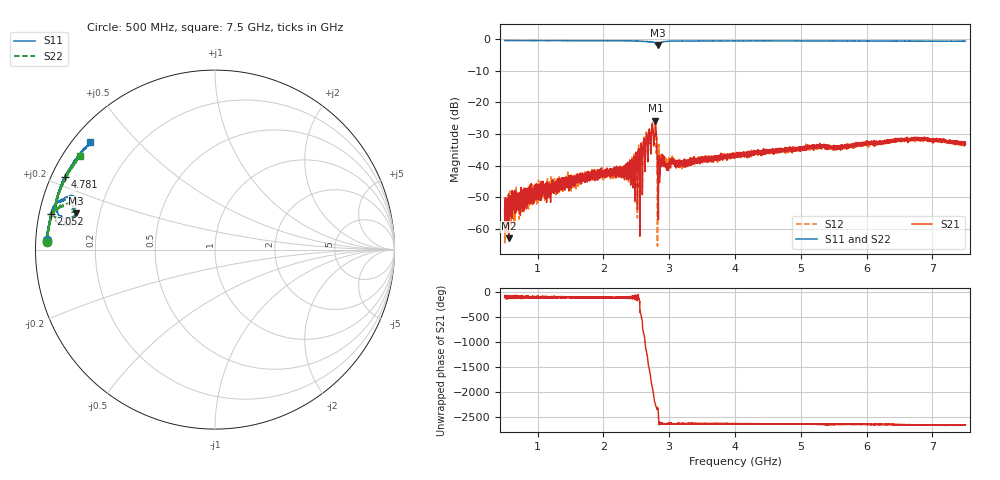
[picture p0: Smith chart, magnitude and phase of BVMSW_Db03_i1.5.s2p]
!Keysight Technologies,M9374A,MY55442783,A.12.55.05
!Date: Friday, May 21, 2021 10:44:48
!Correction: S11(Full 2 Port(1,2))
!S21(Full 2 Port(1,2))
!S12(Full 2 Port(1,2))
!S22(Full 2 Port(1,2))
!S2P File: Measurements: S11, S21, S12, S22:
# Hz S  RI  R 50
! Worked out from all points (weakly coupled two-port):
!   7001 points, 500 MHz to 7.5 GHz, reference 50 ohm
!   highest |S21| = -25.86 dB at 2.792 GHz (marker M1); lowest = -62.9 dB at 562 MHz (marker M2)
!   lowest |S11| = -1.9 dB at 2.831 GHz (marker M3), VSWR 8.99, Z = 5.65 + j6.32 ohm
!   |S11| at or under -10 dB: nowhere
!   |S22| runs from -2.0 to -0.5 dB; largest |S21 - S12| = 0.019
!   S11 on the Smith chart (normalised r, x): 500 MHz: 0.03, +0.03; 2.052 GHz: 0.03, +0.11; 4.781 GHz: 0.04, +0.23; 7.5 GHz: 0.05, +0.37
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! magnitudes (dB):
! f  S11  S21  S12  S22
! 500 MHz  -0.5  -55.8  -54.0  -0.6
! 562 MHz  -0.5  -62.9  -53.8  -0.6
! 921 MHz  -0.6  -51.7  -47.6  -0.6
! 1.667 GHz  -0.6  -45.7  -43.6  -0.6
! 2.052 GHz  -0.6  -41.8  -41.8  -0.6
! 2.528 GHz  -0.7  -38.2  -37.1  -0.7
! 2.579 GHz  -0.8  -34.1  -34.3  -0.8
! 2.635 GHz  -0.8  -41.9  -40.1  -0.8
! 2.722 GHz  -0.9  -36.4  -35.3  -0.9
! 2.764 GHz  -1.0  -33.1  -32.4  -1.1
! 2.792 GHz  -1.6  -25.9  -25.9  -1.7
! 2.831 GHz  -1.9  -39.1  -47.1  -1.9
! 2.834 GHz  -1.9  -46.1  -45.0  -1.9
! 2.855 GHz  -1.4  -43.1  -41.8  -1.5
! 2.873 GHz  -1.2  -39.4  -40.3  -1.2
! 2.916 GHz  -0.9  -37.6  -37.9  -0.9
! 3.182 GHz  -0.7  -38.9  -39.2  -0.7
! 4 GHz  -0.7  -36.7  -37.5  -0.7
! 4.781 GHz  -0.6  -35.7  -35.6  -0.7
! 5.167 GHz  -0.7  -34.3  -34.1  -0.7
! 6.334 GHz  -0.7  -32.8  -32.6  -0.7
! 7.5 GHz  -0.7  -32.6  -33.3  -0.8
